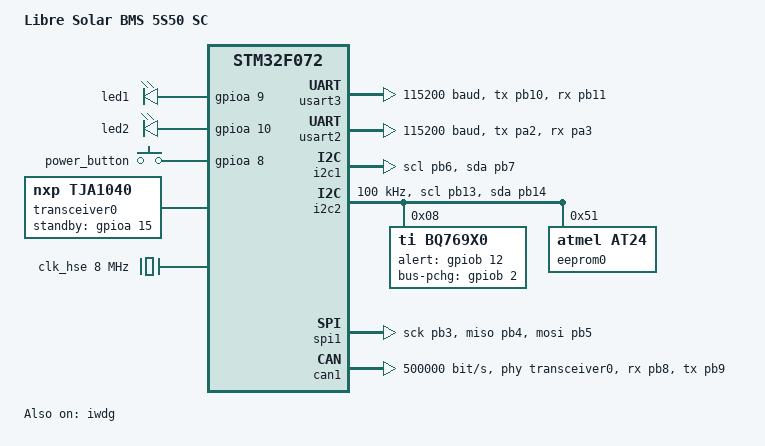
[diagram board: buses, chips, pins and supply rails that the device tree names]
/*
 * Copyright (c) The Libre Solar Project Contributors
 *
 * SPDX-License-Identifier: Apache-2.0
 */

/dts-v1/;
#include <st/f0/stm32f072Xb.dtsi>
#include <st/f0/stm32f072c(8-b)tx-pinctrl.dtsi>

/ {
	model = "Libre Solar BMS 5S50 SC";
	compatible = "st,stm32f072";

	pcb {
		compatible = "bms";

		type = "BMS 15S80 SC";
		version-str = "v0.1";
		version-num = <1>;

		/*
		 * Additional information:
		 * - GAIN_PACK_VOLTAGE (105.6/5.6)
		 * - PIN_V_BAT    PA_4
		 * - PIN_V_EXT    PA_5
		 */
	};

	chosen {
		zephyr,console = &usart3;
		zephyr,shell-uart = &usart3;
		zephyr,sram = &sram0;
		zephyr,flash = &flash0;
		thingset,can = &can1;
		thingset,eeprom = &eeprom0;
		thingset,serial = &uext_uart;
	};

	leds {
		compatible = "gpio-leds";
		led1: led_0 {
			gpios = <&gpioa 9 GPIO_ACTIVE_HIGH>;
		};
		led2: led_1 {
			gpios = <&gpioa 10 GPIO_ACTIVE_HIGH>;
		};
	};

	gpio_keys {
		compatible = "gpio-keys";
		power_button: button {
			gpios = <&gpioa 8 GPIO_ACTIVE_HIGH>;
		};
	};

	transceiver0: can-phy0 {
		compatible = "nxp,tja1040", "can-transceiver-gpio";
		max-bitrate = <1000000>;
		standby-gpios = <&gpioa 15 GPIO_ACTIVE_HIGH>;
		#phy-cells = <0>;
	};

	aliases {
		led-red = &led1;
		led-green = &led2;
		sw-pwr = &power_button;
		bms-ic = &bq769x0;
	};

	soc {
		usart3: serial@40004800 {
			compatible = "st,stm32-usart", "st,stm32-uart";
			reg = <0x40004800 0x400>;
			clocks = <&rcc STM32_CLOCK_BUS_APB1 0x00040000>;
			interrupts = <29 0>;
			status = "disabled";
		};
		usart4: serial@40004c00 {
			compatible = "st,stm32-usart", "st,stm32-uart";
			reg = <0x40004c00 0x400>;
			clocks = <&rcc STM32_CLOCK_BUS_APB1 0x00080000>;
			interrupts = <29 0>;
			status = "disabled";
		};
	};
};

&clk_hse {
	clock-frequency = <DT_FREQ_M(8)>;
	status = "okay";
};

&pll {
	clocks = <&clk_hse>;
	prediv = <1>;
	mul = <6>;
	status = "okay";
};

&rcc {
	clocks = <&pll>;
	clock-frequency = <DT_FREQ_M(48)>;
	ahb-prescaler = <1>;
	apb1-prescaler = <1>;
};

uext_uart: &usart2 {
	pinctrl-0 = <&usart2_tx_pa2 &usart2_rx_pa3>;
	pinctrl-names = "default";
	current-speed = <115200>;
	status = "okay";
};

&usart2_rx_pa3 {
	bias-pull-up;	// avoid junk characters if pin is left floating
};

&usart3 {
	pinctrl-0 = <&usart3_tx_pb10 &usart3_rx_pb11>;
	pinctrl-names = "default";
	current-speed = <115200>;
	status = "okay";
};

&usart3_rx_pb11 {
	bias-pull-up;	// avoid junk characters if pin is left floating
};

uext_i2c: &i2c1 {
	pinctrl-0 = <&i2c1_scl_pb6 &i2c1_sda_pb7>;
	pinctrl-names = "default";
	status = "okay";
};

&i2c2 {
	pinctrl-0 = <&i2c2_scl_pb13 &i2c2_sda_pb14>;
	pinctrl-names = "default";
	clock-frequency = <I2C_BITRATE_STANDARD>;
	status = "okay";

	bq769x0: bq769x0@8 {
		compatible = "ti,bq769x0";
		reg = <0x08>;
		alert-gpios = <&gpiob 12 GPIO_ACTIVE_HIGH>;
		bus-pchg-gpios = <&gpiob 2 GPIO_ACTIVE_HIGH>;
		board-max-current = <80>;
		shunt-resistor-uohm = <1500>;
		used-cell-channels = <0x7FFF>;
	};

	eeprom0: eeprom@51 {
		// M24256-BW
		compatible = "atmel,at24";
		reg = <0x51>;	// 1 0 1 0 A2 A1 A0 = 1010001
		size = <32768>;
		pagesize = <64>;
		address-width = <16>;
		timeout = <7>;
	};
};

&spi1 {
	pinctrl-0 = <&spi1_sck_pb3 &spi1_miso_pb4 &spi1_mosi_pb5>;
	pinctrl-names = "default";
	cs-gpios = <&gpioa 1 GPIO_ACTIVE_LOW>;
	status = "okay";
};

&iwdg {
	status = "okay";
};

&can1 {
	pinctrl-0 = <&can_rx_pb8 &can_tx_pb9>;
	pinctrl-names = "default";
	bus-speed = <500000>;
	phys = <&transceiver0>;
	status = "okay";
};
